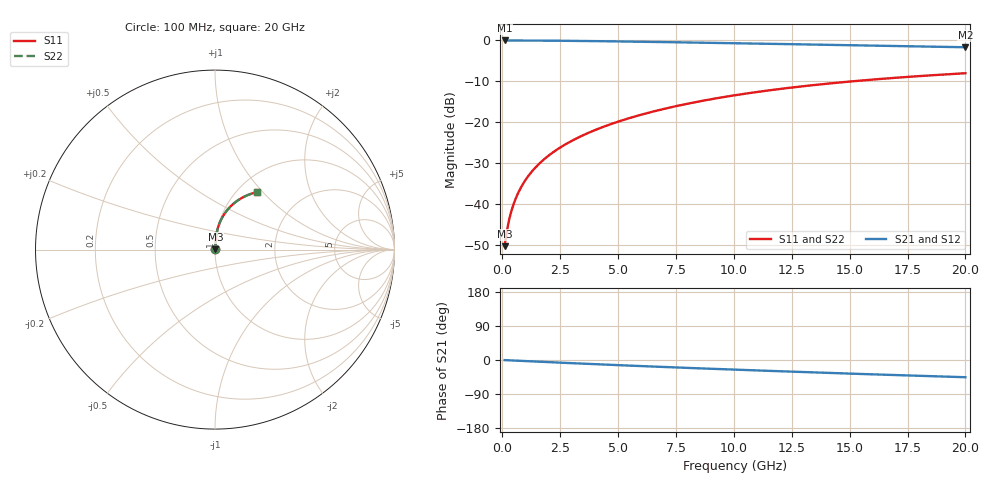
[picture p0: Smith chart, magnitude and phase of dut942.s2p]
! Touchstone file exported from HFSS 2024.1.0
!  File:  C:/UserFiles/LocalFiles/RDL_TSV_Batchsim/temp_RDL_top_942_1779937596.aedt
!  Generated:  11:09:36 AM May 28, 2026
!  Design:  RDL_top
!  Project:  temp_RDL_top_942_1779937596
!  Setup:  Setup1
!  Solution:  Sweep
! Variables:
!  dtsv = 10.80580581um
!  hbump = 3um
!  htsv = 95.89um
!  ldown = 100um
!  lrdl = 628.42um
!  p = 40
!  p1 = 59.97um
!  rhole = 1um
!  t = 450um
!  tdown = 3.915915916um
!  trdl = 4.47um
!  wdown = 15.38538539um
!  wrdl = 24.64um
# GHz S MA R 50.000000
! Terminal data exported
! Port[1] = Box2_T1
! Port[2] = Box2_T2
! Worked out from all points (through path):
!   200 points, 100 MHz to 20 GHz, reference 50 ohm
!   highest |S21| = -0.02 dB at 100 MHz (marker M1); lowest = -1.7 dB at 20 GHz (marker M2)
!   group delay of S21, straight-line fit = 6.25 ps
!   lowest |S11| = -50.3 dB at 100 MHz (marker M3), VSWR 1.01, Z = 50.2 + j0.212 ohm
!   |S11| at or under -10 dB: start of sweep to 15.12 GHz
!   |S22| runs from -50.3 to -8.0 dB; largest |S21 - S12| = 2.6e-14
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0.1  0.003058 43.8  0.9978 -0.3  0.9978 -0.3  0.003058 43.8
! Gamma 0 0 0 0
! Port Impedance 50 0 50 0
0.2  0.004749 60.3  0.9976 -0.6  0.9976 -0.6  0.004749 60.3
0.3  0.006544 67.8  0.9974 -0.9  0.9974 -0.9  0.006544 67.8
0.4  0.008364 72.1  0.9972 -1.1  0.9972 -1.1  0.008364 72.1
0.5  0.0102 75.0  0.9971 -1.4  0.9971 -1.4  0.0102 75.0
0.6  0.01206 77.1  0.9969 -1.7  0.9969 -1.7  0.01206 77.1
0.8  0.01582 79.9  0.9965 -2.3  0.9965 -2.3  0.01582 79.9
1.1  0.02155 82.2  0.9958 -3.1  0.9958 -3.1  0.02155 82.2
1.5  0.02928 83.8  0.9945 -4.2  0.9945 -4.2  0.02928 83.8
1.8  0.03515 84.5  0.9933 -5.1  0.9933 -5.1  0.03515 84.5
2.1  0.04107 84.9  0.9919 -5.9  0.9919 -5.9  0.04107 84.9
2.7  0.05311 85.2  0.9886 -7.5  0.9886 -7.5  0.0531 85.2
3.5  0.06954 85.1  0.9833 -9.7  0.9833 -9.7  0.06953 85.1
4.2  0.08429 84.6  0.978 -11.5  0.978 -11.5  0.08427 84.6
5  0.1015 83.7  0.9713 -13.6  0.9713 -13.6  0.1015 83.7
6.8  0.1414 81.0  0.9548 -18.0  0.9548 -18.0  0.1413 81.0
8.4  0.1772 77.9  0.9393 -21.8  0.9393 -21.8  0.1771 77.9
10.1  0.2147 74.4  0.9224 -25.6  0.9224 -25.6  0.2146 74.3
11.7  0.2488 70.9  0.9064 -29.1  0.9064 -29.1  0.2487 70.9
13.4  0.2834 67.2  0.8893 -32.6  0.8893 -32.6  0.2832 67.2
16.7  0.3443 60.3  0.8563 -39.2  0.8563 -39.2  0.3441 60.2
20  0.3967 53.8  0.8241 -45.4  0.8241 -45.4  0.3965 53.7
